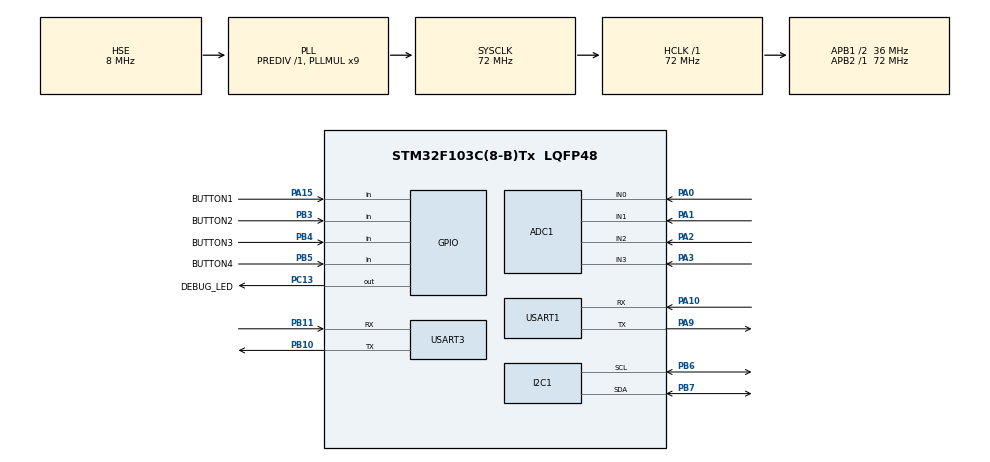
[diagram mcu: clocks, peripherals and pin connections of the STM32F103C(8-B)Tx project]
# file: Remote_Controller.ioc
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ADC1.Channel-0\#ChannelRegularConversion=ADC_CHANNEL_0
ADC1.Channel-1\#ChannelRegularConversion=ADC_CHANNEL_1
ADC1.Channel-2\#ChannelRegularConversion=ADC_CHANNEL_2
ADC1.Channel-3\#ChannelRegularConversion=ADC_CHANNEL_3
ADC1.ContinuousConvMode=ENABLE
ADC1.NbrOfConversion=4
ADC1.NbrOfConversionFlag=1
ADC1.Rank-0\#ChannelRegularConversion=1
ADC1.Rank-1\#ChannelRegularConversion=2
ADC1.Rank-2\#ChannelRegularConversion=3
ADC1.Rank-3\#ChannelRegularConversion=4
ADC1.SamplingTime-0\#ChannelRegularConversion=ADC_SAMPLETIME_1CYCLE_5
ADC1.SamplingTime-1\#ChannelRegularConversion=ADC_SAMPLETIME_1CYCLE_5
ADC1.SamplingTime-2\#ChannelRegularConversion=ADC_SAMPLETIME_1CYCLE_5
ADC1.SamplingTime-3\#ChannelRegularConversion=ADC_SAMPLETIME_1CYCLE_5
ADC1.master=1
Dma.ADC1.0.Direction=DMA_PERIPH_TO_MEMORY
Dma.ADC1.0.Instance=DMA1_Channel1
Dma.ADC1.0.MemDataAlignment=DMA_MDATAALIGN_HALFWORD
Dma.ADC1.0.MemInc=DMA_MINC_ENABLE
Dma.ADC1.0.Mode=DMA_CIRCULAR
Dma.ADC1.0.PeriphDataAlignment=DMA_PDATAALIGN_HALFWORD
Dma.ADC1.0.PeriphInc=DMA_PINC_DISABLE
Dma.ADC1.0.Priority=DMA_PRIORITY_LOW
Dma.Request0=ADC1
Mcu.Family=STM32F1
Mcu.Name=STM32F103C(8-B)Tx
Mcu.Package=LQFP48
NVIC.ADC1_2_IRQn=true\:0\:0\:false\:false\:true\:true\:true\:true
NVIC.DMA1_Channel1_IRQn=true\:0\:0\:false\:false\:true\:false\:true\:true
NVIC.PriorityGroup=NVIC_PRIORITYGROUP_4
NVIC.TIM2_IRQn=true\:0\:0\:false\:false\:true\:true\:true\:true
NVIC.USART1_IRQn=true\:0\:0\:false\:false\:true\:true\:true\:true
PA0-WKUP.Signal=ADCx_IN0
PA1.Signal=ADCx_IN1
PA10.Mode=Asynchronous
PA10.Signal=USART1_RX
PA13.Mode=Serial_Wire
PA13.Signal=SYS_JTMS-SWDIO
PA14.Mode=Serial_Wire
PA14.Signal=SYS_JTCK-SWCLK
PA15.GPIO_Label=BUTTON1
PA15.GPIO_PuPd=GPIO_PULLUP
PA15.Signal=GPIO_Input
PA2.Signal=ADCx_IN2
PA3.Signal=ADCx_IN3
PA9.Mode=Asynchronous
PA9.Signal=USART1_TX
PB10.Mode=Asynchronous
PB10.Signal=USART3_TX
PB11.Mode=Asynchronous
PB11.Signal=USART3_RX
PB3.GPIO_Label=BUTTON2
PB3.GPIO_PuPd=GPIO_PULLUP
PB3.Signal=GPIO_Input
PB4.GPIO_Label=BUTTON3
PB4.GPIO_PuPd=GPIO_PULLUP
PB4.Signal=GPIO_Input
PB5.GPIO_Label=BUTTON4
PB5.GPIO_PuPd=GPIO_PULLUP
PB5.Signal=GPIO_Input
PB6.Mode=I2C
PB6.Signal=I2C1_SCL
PB7.Mode=I2C
PB7.Signal=I2C1_SDA
PC13-TAMPER-RTC.GPIO_Label=DEBUG_LED
PC13-TAMPER-RTC.GPIO_PuPd=GPIO_NOPULL
PC13-TAMPER-RTC.GPIO_Speed=GPIO_SPEED_FREQ_LOW
PC13-TAMPER-RTC.PinState=GPIO_PIN_SET
PC13-TAMPER-RTC.Signal=GPIO_Output
PC14-OSC32_IN.Mode=LSE-External-Oscillator
PC14-OSC32_IN.Signal=RCC_OSC32_IN
PC15-OSC32_OUT.Mode=LSE-External-Oscillator
PC15-OSC32_OUT.Signal=RCC_OSC32_OUT
PD0-OSC_IN.Mode=HSE-External-Oscillator
PD0-OSC_IN.Signal=RCC_OSC_IN
PD1-OSC_OUT.Mode=HSE-External-Oscillator
PD1-OSC_OUT.Signal=RCC_OSC_OUT
ProjectManager.HeapSize=0x200
ProjectManager.StackSize=0x400
ProjectManager.TargetToolchain=STM32CubeIDE
RCC.ADCPresc=RCC_ADCPCLK2_DIV6
RCC.AHBFreq_Value=72000000
RCC.APB1CLKDivider=RCC_HCLK_DIV2
RCC.APB1Freq_Value=36000000
RCC.APB1TimFreq_Value=72000000
RCC.APB2Freq_Value=72000000
RCC.APB2TimFreq_Value=72000000
RCC.HCLKFreq_Value=72000000
RCC.PLLMUL=RCC_PLL_MUL9
RCC.PLLSourceVirtual=RCC_PLLSOURCE_HSE
RCC.SYSCLKFreq_VALUE=72000000
RCC.SYSCLKSource=RCC_SYSCLKSOURCE_PLLCLK
RCC.USBFreq_Value=72000000
SH.ADCx_IN0.0=ADC1_IN0,IN0
SH.ADCx_IN1.0=ADC1_IN1,IN1
SH.ADCx_IN2.0=ADC1_IN2,IN2
SH.ADCx_IN3.0=ADC1_IN3,IN3
TIM2.Period=100
TIM2.Prescaler=7200-1
USART1.VirtualMode=VM_ASYNC
USART3.VirtualMode=VM_ASYNC
VP_TIM2_VS_ClockSourceINT.Mode=Internal
board=custom

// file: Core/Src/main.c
/* USER CODE BEGIN Header */
/**
  ******************************************************************************
  * @file           : main.c
  * @brief          : Main program body
  ******************************************************************************
  * @attention
  *
  * Copyright (c) 2024 STMicroelectronics.
  * All rights reserved.
  *
  * This software is licensed under terms that can be found in the LICENSE file
  * in the root directory of this software component.
  * If no LICENSE file comes with this software, it is provided AS-IS.
  *
  ******************************************************************************
  */
/* USER CODE END Header */
#include "main.h"
#include "adc.h"
#include "dma.h"
#include "i2c.h"
#include "tim.h"
#include "usart.h"
#include "gpio.h"

/* USER CODE BEGIN Includes */
#include "button.h"
#include "calibration.h"
#include "data_fifo.h"
#include "joystick.h"
#include "retarget.h"
#include "uart_instruction.h"
/* USER CODE END Includes */

void SystemClock_Config(void);

/* USER CODE BEGIN 0 */

uint32_t CPU_ID[3];

void Get_ChipID(void) {
    CPU_ID[0] = *(__IO uint32_t*)(0X1FFFF7F0); // 高字节
    CPU_ID[1] = *(__IO uint32_t*)(0X1FFFF7EC); //
    CPU_ID[2] = *(__IO uint32_t*)(0X1FFFF7E8); // 低字节
}

void uart_send_data() {
    if (FIFO_IsEmpty(&data_fifo) == 1) {
        return;
    }
    handle_data data;
    FIFO_Read(&data_fifo, &data);

    char buffer[150];
    // char str[] = "{\"id\":%ld,\"adc_x\":%.2f,\"adc_y\":%.2f,\"adc_h0\":%.2f,\"adc_h1\":%.2f,\"b0\":%u,\"b1\":%u,\"b2\":%u,\"b3\":%u,\"b4\":%u}\n";
    char str[] = "{%hx,%.2f,%.2f,%.2f,%.2f,%d,%d,%d,%d}\n";
    // char str[] = "%d,%.2f,%.2f,%.2f,%.2f,%d,%d,%d,%d\n";
    // char str[] = "%d,%d,%d,%d,%d,%d,%d,%d,%d\n";
    sprintf(buffer,
            str,
            CPU_ID[2] & 0xff,
            ConvertToJoystickValue(data.sliding_filter_dma_adc[0], &joystick_x_adc),
            ConvertToJoystickValue(data.sliding_filter_dma_adc[1], &joystick_y_adc),
            ConvertToTriggerValue(data.sliding_filter_dma_adc[2], trigger_1_adc.min, trigger_1_adc.max, 10),
            ConvertToTriggerValue(data.sliding_filter_dma_adc[3], trigger_2_adc.min, trigger_2_adc.max, 10),
            // data.sliding_filter_dma_adc[0], data.sliding_filter_dma_adc[1], data.sliding_filter_dma_adc[2],
            // data.sliding_filter_dma_adc[3],
            data.button_state[0], data.button_state[1], data.button_state[2], data.button_state[3]
    );
    HAL_UART_Transmit(&huart1, buffer, strlen(buffer), 1000);
}

void HAL_TIM_PeriodElapsedCallback(TIM_HandleTypeDef* htim) {
    if (htim->Instance == TIM2) {
        SlidingFilterJoystickValue();
        KeyScan();

        // handle_data data;
        // for (int i = 0; i < BUTTON_NUM; ++i) {
        //     data.button_state[i] = buttons[i].state;
        // }
        // for (int i = 0; i < JOYSTICK_VALUE; ++i) {
        //     data.sliding_filter_dma_adc[i] = sliding_filter_dma_adc[i];
        //     // data.sliding_filter_dma_adc[i] = dma_adc[i];
        // }
        // FIFO_Write(&data_fifo, &data);

        if (buttons[1].state && buttons[2].state) {
            recording_value++;
        } else {
            recording_value = 0;
        }
    }
}

/* USER CODE END 0 */

int main(void) {

    /* MCU Configuration--------------------------------------------------------*/

    /* Reset of all peripherals, Initializes the Flash interface and the Systick. */
    HAL_Init();

    /* Configure the system clock */
    SystemClock_Config();

    /* Initialize all configured peripherals */
    MX_GPIO_Init();
    MX_DMA_Init();
    MX_USART1_UART_Init();
    MX_USART3_UART_Init();
    MX_ADC1_Init();
    MX_I2C1_Init();
    MX_TIM2_Init();
    /* USER CODE BEGIN 2 */

    Get_ChipID();
    RetargetInit(&huart1);                      //重定向串口
    read_calibration_value();                   //读取校准值
    uart_instruction_init();                    //初始化串口指令
    FIFO_Init(&data_fifo, sizeof(handle_data)); //初始化数据缓冲区
    InitJoystick();                             // 初始化摇杆
    HAL_TIM_Base_Start_IT(&htim2);              // 开启定时器

    /* USER CODE END 2 */

    /* Infinite loop */
    while (1) {

        /* USER CODE BEGIN 3 */
        uart_send_data();
        // printf("%d,%d,%d,%d\n",dma_adc[0],dma_adc[1],dma_adc[2],dma_adc[3]);
        if (recording_value >= RECORDING_VALUE) {
            calibration_joystick();
        }
    }
    /* USER CODE END 3 */
}

void SystemClock_Config(void) {
    RCC_OscInitTypeDef RCC_OscInitStruct = {0};
    RCC_ClkInitTypeDef RCC_ClkInitStruct = {0};
    RCC_PeriphCLKInitTypeDef PeriphClkInit = {0};

    /** Initializes the RCC Oscillators according to the specified parameters
    * in the RCC_OscInitTypeDef structure.
    */
    RCC_OscInitStruct.OscillatorType = RCC_OSCILLATORTYPE_HSE;
    RCC_OscInitStruct.HSEState = RCC_HSE_ON;
    RCC_OscInitStruct.HSEPredivValue = RCC_HSE_PREDIV_DIV1;
    RCC_OscInitStruct.HSIState = RCC_HSI_ON;
    RCC_OscInitStruct.PLL.PLLState = RCC_PLL_ON;
    RCC_OscInitStruct.PLL.PLLSource = RCC_PLLSOURCE_HSE;
    RCC_OscInitStruct.PLL.PLLMUL = RCC_PLL_MUL9;
    if (HAL_RCC_OscConfig(&RCC_OscInitStruct) != HAL_OK) {
        Error_Handler();
    }

    /** Initializes the CPU, AHB and APB buses clocks
    */
    RCC_ClkInitStruct.ClockType = RCC_CLOCKTYPE_HCLK | RCC_CLOCKTYPE_SYSCLK
        | RCC_CLOCKTYPE_PCLK1 | RCC_CLOCKTYPE_PCLK2;
    RCC_ClkInitStruct.SYSCLKSource = RCC_SYSCLKSOURCE_PLLCLK;
    RCC_ClkInitStruct.AHBCLKDivider = RCC_SYSCLK_DIV1;
    RCC_ClkInitStruct.APB1CLKDivider = RCC_HCLK_DIV2;
    RCC_ClkInitStruct.APB2CLKDivider = RCC_HCLK_DIV1;

    if (HAL_RCC_ClockConfig(&RCC_ClkInitStruct, FLASH_LATENCY_2) != HAL_OK) {
        Error_Handler();
    }
    PeriphClkInit.PeriphClockSelection = RCC_PERIPHCLK_ADC;
    PeriphClkInit.AdcClockSelection = RCC_ADCPCLK2_DIV6;
    if (HAL_RCCEx_PeriphCLKConfig(&PeriphClkInit) != HAL_OK) {
        Error_Handler();
    }
}

void Error_Handler(void) {
    __disable_irq();
    while (1) {
    }
}
